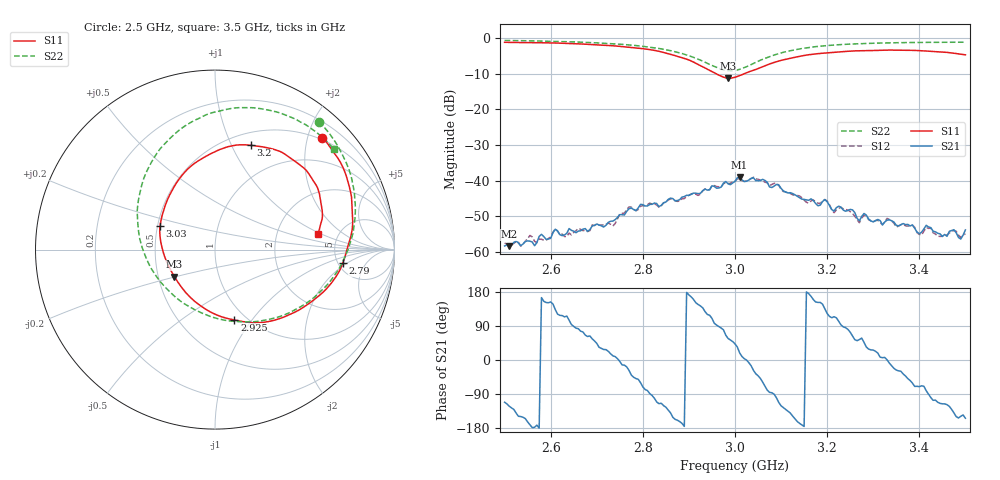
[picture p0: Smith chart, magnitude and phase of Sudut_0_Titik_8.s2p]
# Hz S RI R 50
! CMT, C1220, 16058040, 17.2.0/1
! Date: 15/08/2018 09:53:33
! Data: Format (Calibration Info)
! Freq  S11: Re/Im (F2)  S21: Re/Im (F2)  S12: Re/Im (F2)  S22: Re/Im (F2)
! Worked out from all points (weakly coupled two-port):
!   201 points, 2.5 GHz to 3.5 GHz, reference 50 ohm
!   highest |S21| = -39.07 dB at 3.01 GHz (marker M1); lowest = -58.4 dB at 2.51 GHz (marker M2)
!   lowest |S11| = -11.3 dB at 2.985 GHz (marker M3), VSWR 1.75, Z = 30.3 - j9.86 ohm
!   |S11| at or under -10 dB: 2.958 GHz to 3.021 GHz (63.37 MHz wide, 2.12 % of centre)
!   |S22| runs from -9.3 to -0.7 dB; largest |S21 - S12| = 0.00089
!   S11 on the Smith chart (normalised r, x): 2.5 GHz: 0.46, +2.27; 2.79 GHz: 5.49, -1.71; 2.925 GHz: 0.88, -0.83; 3.03 GHz: 0.52, +0.15; 3.2 GHz: 0.64, +1.19; 3.5 GHz: 3.49, +0.90
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2.5e9  0.5986 0.6244  -0.000444 -0.00113  -0.000456 -0.00125  0.579 0.7127
2.51e9  0.6112 0.6101  -0.000637 -0.00103  -0.000701 -0.000984  0.5902 0.702
2.565e9  0.6702 0.5294  -0.00122 -4.92e-05  -0.0014 0.000164  0.6503 0.629
2.61e9  0.7167 0.449  -0.00142 0.00153  -0.00144 0.00155  0.6955 0.5556
2.67e9  0.7587 0.305  0.000572 0.002  0.000661 0.00188  0.7493 0.4374
2.79e9  0.7119 -0.0757  0.00261 -0.00321  0.00234 -0.00315  0.7685 0.0898
2.835e9  0.6016 -0.238  -0.00185 -0.00391  -0.00176 -0.00386  0.7047 -0.0815
2.925e9  0.1079 -0.392  -0.00528 0.00403  -0.00533 0.00363  0.2892 -0.3912
2.985e9  -0.2262 -0.1505  0.00492 0.00754  0.0047 0.00781  -0.1801 -0.2963
3e9  -0.2751 -0.054  0.00721 0.00658  0.00749 0.00619  -0.2788 -0.2082
3.01e9  -0.2949 0.0101  0.0105 0.00362  0.01 0.00353  -0.3347 -0.1376
3.03e9  -0.3057 0.1333  0.0101 -0.00125  0.0101 -0.00128  -0.4074 0.0162
3.1e9  -0.1366 0.4629  -0.00399 -0.00669  -0.00416 -0.0063  -0.3396 0.5115
3.17e9  0.1073 0.5805  -0.00493 0.00185  -0.00511 0.00157  -0.0701 0.7412
3.2e9  0.2005 0.5806  -0.00273 0.00426  -0.00266 0.00442  0.0424 0.7762
3.27e9  0.3845 0.5352  0.0016 0.00221  0.00148 0.0021  0.2629 0.7838
3.28e9  0.4047 0.5211  0.00238 0.00251  0.00224 0.00237  0.2898 0.7786
3.335e9  0.5093 0.4404  0.00279 -0.000405  0.0028 -0.000543  0.4165 0.7405
3.4e9  0.578 0.3232  0.000603 -0.00169  0.000424 -0.00171  0.5335 0.6758
3.415e9  0.5859 0.2879  0.000365 -0.00234  0.000317 -0.00219  0.5577 0.6588
3.49e9  0.5807 0.1094  -0.00129 -0.000794  -0.00141 -0.000765  0.6536 0.5697
3.5e9  0.5713 0.0859  -0.00183 -0.000904  -0.00165 -0.000732  0.6646 0.5579
